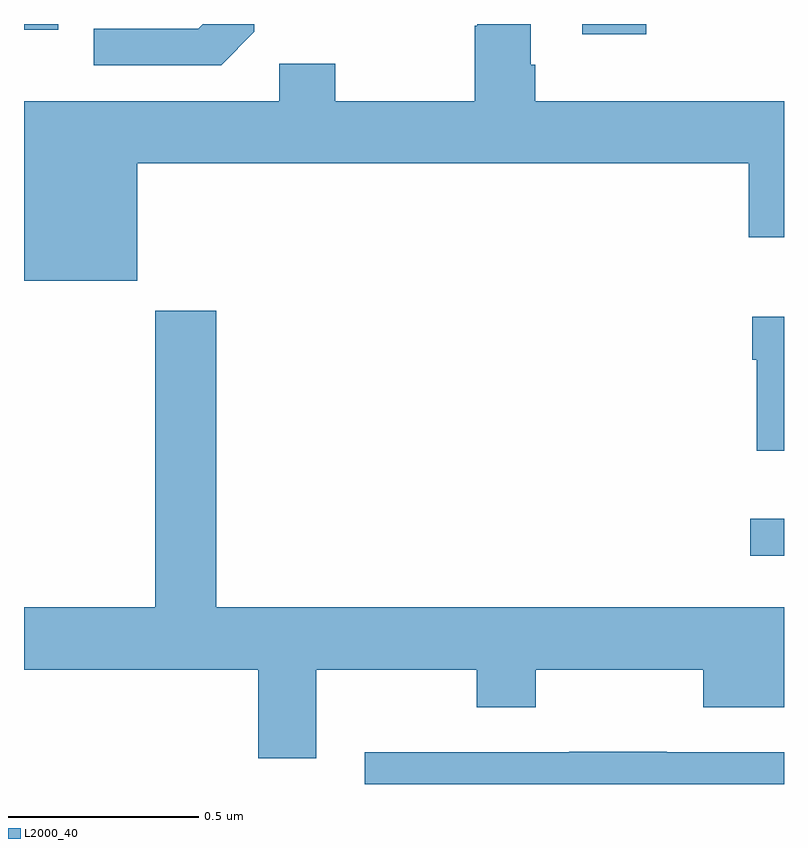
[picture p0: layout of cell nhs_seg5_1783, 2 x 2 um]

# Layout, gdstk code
import gdstk
lib = gdstk.Library(unit=1e-6, precision=1e-09)
def R(c, l, rs):  # rectangles x0, y0, x1, y1
    for r in rs: c.add(gdstk.rectangle(r[:2], r[2:], *l))
def P(c, l, *ps):  # polygons
    for p in ps: c.add(gdstk.Polygon(p, *l))
L2000_40 = (2000, 40)

nhs_seg5_1783 = lib.new_cell('nhs_seg5_1783')
R(nhs_seg5_1783, L2000_40, [(136.911,850.4,137,850.497), (136.469,851.772,136.637,851.799), (135,851.784,135.09,851.799)])
P(nhs_seg5_1783, L2000_40, [(135.298,851.432),(136.907,851.432),(136.907,851.238),(137,851.238),(137,851.596),(136.346,851.596),(136.346,851.692),(136.333,851.692),(136.333,851.799),(136.193,851.799),(136.193,851.795),(136.186,851.795),(136.186,851.596),(135.819,851.596),(135.819,851.695),(135.672,851.695),(135.672,851.596),(135,851.596),(135,851.123),(135.298,851.123)],
  [(135.606,851.778),(135.606,851.799),(135.471,851.799),(135.459,851.787),(135.183,851.787),(135.183,851.691),(135.519,851.691)],
  [(135.769,850.1),(136.192,850.1),(136.192,850.001),(136.347,850.001),(136.347,850.1),(136.787,850.1),(136.787,850.001),(137,850.001),(137,850.264),(135.506,850.264),(135.506,851.044),(135.346,851.044),(135.346,850.264),(135,850.264),(135,850.1),(135.617,850.1),(135.617,849.867),(135.769,849.867)],
  [(137,851.029),(136.916,851.029),(136.916,850.916),(136.928,850.916),(136.928,850.676),(137,850.676)],
  [(137,849.882),(136.691,849.882),(136.691,849.884),(136.435,849.884),(136.435,849.882),(135.897,849.882),(135.897,849.799),(137,849.799)])

lib.write_gds('nhs_seg5_1783.gds')
